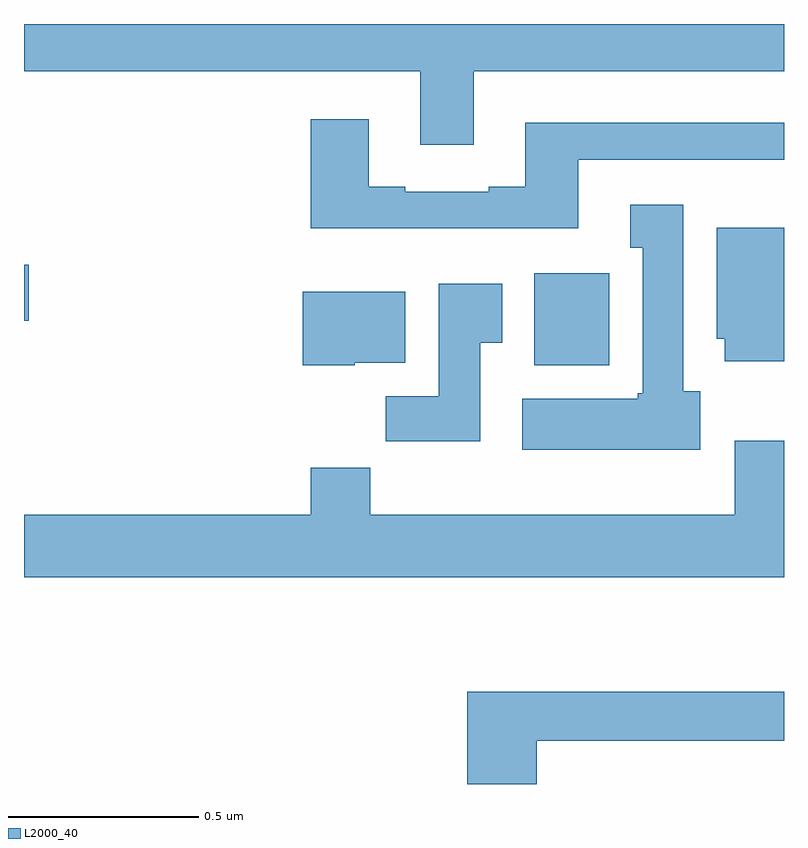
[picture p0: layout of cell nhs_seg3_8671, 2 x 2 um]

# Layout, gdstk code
import gdstk
lib = gdstk.Library(unit=1e-6, precision=1e-09)
def R(c, l, rs):  # rectangles x0, y0, x1, y1
    for r in rs: c.add(gdstk.rectangle(r[:2], r[2:], *l))
def P(c, l, *ps):  # polygons
    for p in ps: c.add(gdstk.Polygon(p, *l))
L2000_40 = (2000, 40)

nhs_seg3_8671 = lib.new_cell('nhs_seg3_8671')
R(nhs_seg3_8671, L2000_40, [(220.343,673.502,220.54,673.744), (219,673.619,219.013,673.766)])
P(nhs_seg3_8671, L2000_40, [(220.183,674.276),(221,674.276),(221,674.4),(219,674.4),(219,674.276),(220.043,674.276),(220.043,674.082),(220.183,674.082)],
  [(220.459,674.043),(221,674.043),(221,674.14),(220.319,674.14),(220.319,673.972),(220.223,673.972),(220.223,673.959),(220.003,673.959),(220.003,673.972),(219.907,673.972),(219.907,674.149),(219.755,674.149),(219.755,673.862),(220.459,673.862)],
  [(220.78,673.434),(220.735,673.434),(220.735,673.924),(220.595,673.924),(220.595,673.811),(220.628,673.811),(220.628,673.428),(220.615,673.428),(220.615,673.414),(220.311,673.414),(220.311,673.28),(220.78,673.28)],
  [(221,673.864),(220.823,673.864),(220.823,673.572),(220.844,673.572),(220.844,673.512),(221,673.512)],
  [(220.201,673.561),(220.258,673.561),(220.258,673.717),(220.091,673.717),(220.091,673.42),(219.952,673.42),(219.952,673.302),(220.201,673.302)],
  [(219.87,673.508),(220.003,673.508),(220.003,673.696),(219.734,673.696),(219.734,673.502),(219.87,673.502)],
  [(221,673.303),(220.871,673.303),(220.871,673.108),(219.911,673.108),(219.911,673.232),(219.755,673.232),(219.755,673.108),(219,673.108),(219,672.944),(221,672.944)],
  [(220.349,672.514),(221,672.514),(221,672.643),(220.166,672.643),(220.166,672.4),(220.349,672.4)])

lib.write_gds('nhs_seg3_8671.gds')
